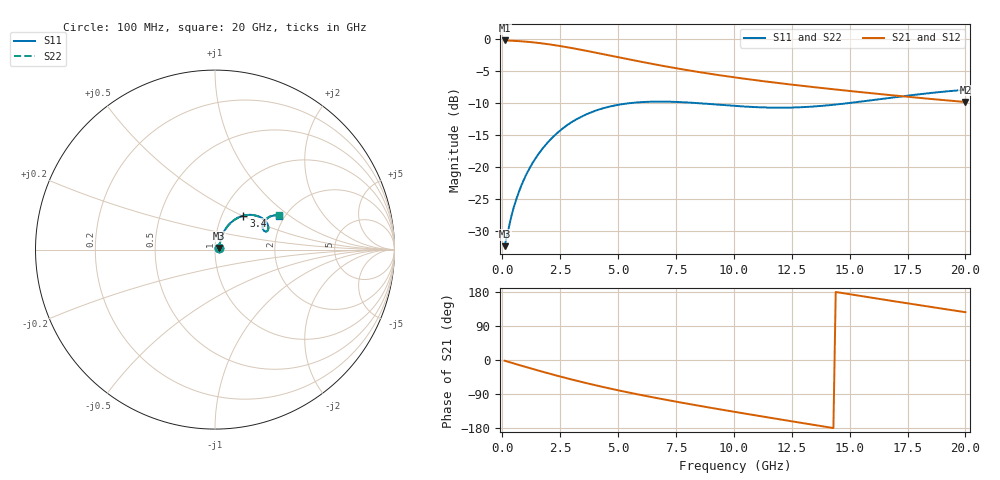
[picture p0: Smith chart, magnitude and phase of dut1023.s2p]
! Touchstone file exported from HFSS 2024.1.0
!  File:  C:/UserFiles/LocalFiles/RDL_TSV_Batchsim/temp_RDL_TSV_1023_1780081901.aedt
!  Generated:  03:28:22 AM May 30, 2026
!  Design:  RDL_TSV
!  Project:  temp_RDL_TSV_1023_1780081901
!  Setup:  Setup1
!  Solution:  Sweep
! Variables:
!  dtsv = 5.63um
!  hbump = 3um
!  htsv = 72.22um
!  ldown = 322.57um
!  lrdl = 630.51um
!  p = 40
!  p1 = 47.56um
!  rhole = 10um
!  subl = 3489.75um
!  t = 450um
!  tdown = 3.17um
!  trdl = 3.41um
!  viad = 10um
!  wdown = 26.79um
!  wrdl = 15.6um
!  xbump = 18um
# GHz S MA R 50.000000
! Terminal data exported
! Port[1] = TM1_1_T1
! Port[2] = TM1_4_T1
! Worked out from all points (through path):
!   200 points, 100 MHz to 20 GHz, reference 50 ohm
!   highest |S21| = -0.20 dB at 100 MHz (marker M1); lowest = -9.8 dB at 20 GHz (marker M2)
!   group delay of S21, straight-line fit = 30.9 ps
!   lowest |S11| = -32.4 dB at 100 MHz (marker M3), VSWR 1.05, Z = 52.3 + j0.905 ohm
!   |S11| at or under -10 dB: start of sweep to 5.521 GHz; 8.432 GHz to 14.95 GHz (6.522 GHz wide, 55.8 % of centre)
!   |S22| runs from -32.4 to -7.9 dB; largest |S21 - S12| = 8.6e-15
!   S11 on the Smith chart (normalised r, x): 100 MHz: 1.05, +0.02; 3.4 GHz: 1.26, +0.51; 20 GHz: 1.85, +0.84
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0.1  0.02403 21.1  0.9775 -1.9  0.9775 -1.9  0.02403 21.1
! Gamma 0 0 0 0
! Port Impedance 50 0 50 0
0.4  0.04181 50.7  0.973 -7.4  0.973 -7.4  0.04181 50.6
0.6  0.05565 57.4  0.9687 -11.0  0.9687 -11.0  0.05565 57.4
0.9  0.07724 62.0  0.9606 -16.4  0.9606 -16.4  0.07724 61.9
1.3  0.1069 63.4  0.9463 -23.4  0.9463 -23.4  0.1068 63.4
1.7  0.1366 62.5  0.9284 -30.3  0.9284 -30.3  0.1365 62.5
2.2  0.1726 59.7  0.9017 -38.7  0.9017 -38.7  0.1725 59.6
2.8  0.2124 55.1  0.8654 -48.4  0.8654 -48.4  0.2122 55.1
3.4  0.2468 50.0  0.8266 -57.6  0.8266 -57.6  0.2465 50.0
3.5  0.2519 49.1  0.82 -59.1  0.82 -59.1  0.2517 49.1
4.2  0.2825 43.2  0.774 -69.1  0.774 -69.1  0.2822 43.1
4.9  0.3041 37.6  0.7295 -78.6  0.7295 -78.6  0.3036 37.6
5.8  0.3198 31.4  0.6767 -90.1  0.6767 -90.1  0.3193 31.4
6.8  0.325 26.0  0.6248 -102.0  0.6248 -102.0  0.3243 26.0
8.4  0.3165 20.7  0.5567 -119.7  0.5567 -119.7  0.3157 20.7
10.1  0.3002 19.6  0.5007 -137.5  0.5007 -137.5  0.2992 19.6
11.7  0.2913 22.0  0.4591 -153.8  0.4591 -153.8  0.2903 22.2
13.4  0.2971 26.3  0.4227 -170.7  0.4227 -170.7  0.2962 26.5
15  0.3169 29.6  0.3934 173.6  0.3934 173.6  0.3164 29.8
16.7  0.3469 30.9  0.3661 157.2  0.3661 157.2  0.3467 31.2
18.3  0.376 30.2  0.3435 142.0  0.3435 142.0  0.3761 30.5
20  0.4021 28.2  0.3226 126.2  0.3226 126.2  0.4025 28.4
